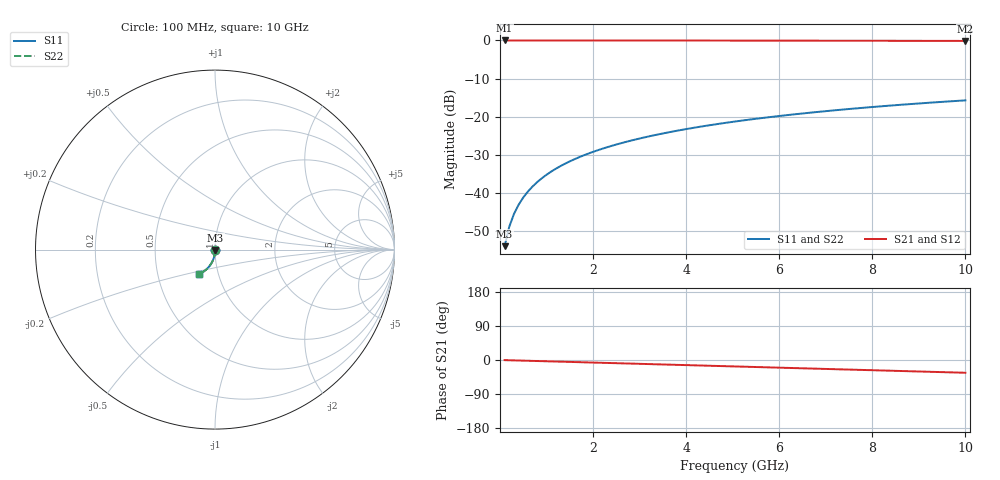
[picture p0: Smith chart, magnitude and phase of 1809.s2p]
# Hz S RI R 50.00
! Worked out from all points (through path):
!   100 points, 100 MHz to 10 GHz, reference 50 ohm
!   highest |S21| = -0.01 dB at 100 MHz (marker M1); lowest = -0.1 dB at 10 GHz (marker M2)
!   group delay of S21, straight-line fit = 9.36 ps
!   lowest |S11| = -54.0 dB at 100 MHz (marker M3), VSWR 1.00, Z = 50.1 - j0.174 ohm
!   |S11| at or under -10 dB: start of sweep to end of sweep
!   |S22| runs from -54.0 to -15.7 dB; largest |S21 - S12| = 0
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1e8  0.001 -0.00173  0.999 -0.00586  0.999 -0.00586  0.001 -0.00173
2e8  0.000978 -0.00347  0.9989 -0.0117  0.9989 -0.0117  0.000978 -0.00347
3e8  0.000928 -0.0052  0.9988 -0.0176  0.9988 -0.0176  0.000928 -0.0052
4e8  0.000858 -0.00694  0.9987 -0.0235  0.9987 -0.0235  0.000858 -0.00694
5e8  0.000766 -0.00867  0.9985 -0.0293  0.9985 -0.0293  0.000766 -0.00867
6e8  0.000654 -0.0104  0.9983 -0.0352  0.9983 -0.0352  0.000654 -0.0104
7e8  0.000521 -0.0121  0.998 -0.041  0.998 -0.041  0.000521 -0.0121
8e8  0.000367 -0.0139  0.9977 -0.0469  0.9977 -0.0469  0.000367 -0.0139
9e8  0.000194 -0.0156  0.9974 -0.0528  0.9974 -0.0528  0.000194 -0.0156
1.1e9  -0.000215 -0.019  0.9966 -0.0645  0.9966 -0.0645  -0.000215 -0.019
1.4e9  -0.000981 -0.0242  0.9952 -0.082  0.9952 -0.082  -0.000981 -0.0242
1.8e9  -0.00229 -0.031  0.9928 -0.1054  0.9928 -0.1054  -0.00229 -0.031
2.1e9  -0.00347 -0.0361  0.9906 -0.1228  0.9906 -0.1228  -0.00347 -0.0361
2.5e9  -0.00534 -0.0428  0.9871 -0.146  0.9871 -0.146  -0.00534 -0.0428
2.9e9  -0.00752 -0.0495  0.9831 -0.1692  0.9831 -0.1692  -0.00752 -0.0495
3.4e9  -0.0107 -0.0576  0.9772 -0.1979  0.9772 -0.1979  -0.0107 -0.0576
4.2e9  -0.0167 -0.0702  0.9659 -0.2435  0.9659 -0.2435  -0.0167 -0.0702
5.1e9  -0.0249 -0.0836  0.9505 -0.2939  0.9505 -0.2939  -0.0249 -0.0836
5.9e9  -0.0333 -0.0947  0.9344 -0.3379  0.9344 -0.3379  -0.0333 -0.0947
6.7e9  -0.0427 -0.105  0.9161 -0.3809  0.9161 -0.3809  -0.0427 -0.105
8.4e9  -0.0656 -0.1237  0.8704 -0.4687  0.8704 -0.4687  -0.0656 -0.1237
1e10  -0.0901 -0.1366  0.8196 -0.5461  0.8196 -0.5461  -0.0901 -0.1366
